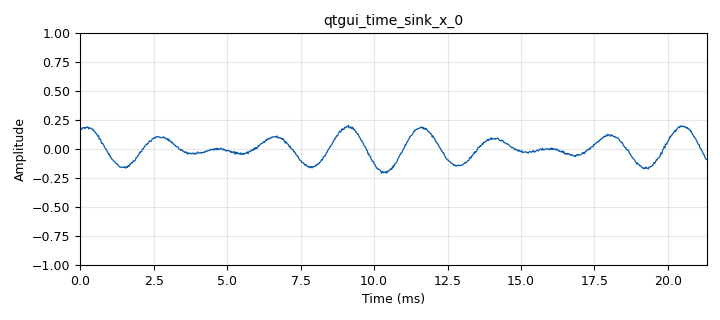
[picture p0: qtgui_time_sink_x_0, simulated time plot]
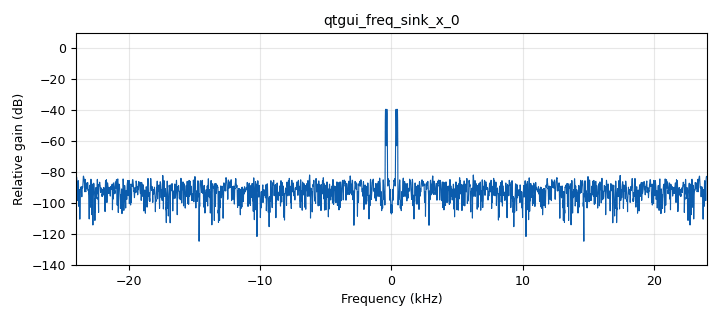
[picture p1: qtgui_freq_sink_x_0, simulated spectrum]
<?xml version='1.0' encoding='utf-8'?>
<?grc format='1' created='3.7.7'?>
<flow_graph>
<block>
<key>variable_qtgui_range</key>
<param><key>id</key><value>noise</value></param>
<param><key>label</key><value>Noise</value></param>
<param><key>value</key><value>0.005</value></param>
<param><key>start</key><value>0</value></param>
<param><key>stop</key><value>0.200</value></param>
<param><key>step</key><value>0.001</value></param>
<param><key>orient</key><value>Qt.Horizontal</value></param>
</block>
<block>
<key>variable</key>
<param><key>id</key><value>samp_rate</value></param>
<param><key>value</key><value>48000</value></param>
</block>
<block>
<key>options</key>
<param><key>id</key><value>audio_dial_tone</value></param>
<param><key>generate_options</key><value>qt_gui</value></param>
<param><key>category</key><value>Custom</value></param>
<param><key>run_options</key><value>run</value></param>
</block>
<block>
<key>variable_qtgui_range</key>
<param><key>id</key><value>ampl</value></param>
<param><key>label</key><value>Volume</value></param>
<param><key>value</key><value>0.1</value></param>
<param><key>start</key><value>0</value></param>
<param><key>stop</key><value>0.5</value></param>
<param><key>step</key><value>0.001</value></param>
<param><key>orient</key><value>Qt.Horizontal</value></param>
</block>
<block>
<key>analog_sig_source_x</key>
<param><key>id</key><value>analog_sig_source_x_1</value></param>
<param><key>type</key><value>float</value></param>
<param><key>samp_rate</key><value>samp_rate</value></param>
<param><key>waveform</key><value>analog.GR_COS_WAVE</value></param>
<param><key>freq</key><value>440</value></param>
<param><key>amp</key><value>ampl</value></param>
<param><key>offset</key><value>0</value></param>
</block>
<block>
<key>analog_noise_source_x</key>
<param><key>id</key><value>analog_noise_source_x_0</value></param>
<param><key>type</key><value>float</value></param>
<param><key>noise_type</key><value>analog.GR_GAUSSIAN</value></param>
<param><key>amp</key><value>noise</value></param>
<param><key>seed</key><value>-42</value></param>
</block>
<block>
<key>analog_sig_source_x</key>
<param><key>id</key><value>analog_sig_source_x_0</value></param>
<param><key>type</key><value>float</value></param>
<param><key>samp_rate</key><value>samp_rate</value></param>
<param><key>waveform</key><value>analog.GR_COS_WAVE</value></param>
<param><key>freq</key><value>350</value></param>
<param><key>amp</key><value>ampl</value></param>
<param><key>offset</key><value>0</value></param>
</block>
<block>
<key>blocks_add_xx</key>
<param><key>id</key><value>blocks_add_xx</value></param>
<param><key>type</key><value>float</value></param>
<param><key>num_inputs</key><value>3</value></param>
</block>
<block>
<key>qtgui_time_sink_x</key>
<param><key>id</key><value>qtgui_time_sink_x_0</value></param>
<param><key>type</key><value>float</value></param>
<param><key>name</key><value></value></param>
<param><key>size</key><value>1024</value></param>
<param><key>srate</key><value>samp_rate</value></param>
<param><key>label1</key><value></value></param>
<param><key>color1</key><value>"blue"</value></param>
</block>
<block>
<key>audio_sink</key>
<param><key>id</key><value>audio_sink</value></param>
<param><key>samp_rate</key><value>int(samp_rate)</value></param>
</block>
<block>
<key>qtgui_freq_sink_x</key>
<param><key>id</key><value>qtgui_freq_sink_x_0</value></param>
<param><key>type</key><value>float</value></param>
<param><key>name</key><value></value></param>
<param><key>fftsize</key><value>4096</value></param>
<param><key>wintype</key><value>firdes.WIN_FLATTOP</value></param>
<param><key>fc</key><value>0</value></param>
<param><key>bw</key><value>samp_rate</value></param>
<param><key>showports</key><value>True</value></param>
</block>
<connection><source_block_id>analog_noise_source_x_0</source_block_id><sink_block_id>blocks_add_xx</sink_block_id><source_key>0</source_key><sink_key>2</sink_key></connection>
<connection><source_block_id>analog_sig_source_x_1</source_block_id><sink_block_id>blocks_add_xx</sink_block_id><source_key>0</source_key><sink_key>1</sink_key></connection>
<connection><source_block_id>analog_sig_source_x_0</source_block_id><sink_block_id>blocks_add_xx</sink_block_id><source_key>0</source_key><sink_key>0</sink_key></connection>
<connection><source_block_id>blocks_add_xx</source_block_id><sink_block_id>audio_sink</sink_block_id><source_key>0</source_key><sink_key>0</sink_key></connection>
<connection><source_block_id>blocks_add_xx</source_block_id><sink_block_id>qtgui_time_sink_x_0</sink_block_id><source_key>0</source_key><sink_key>0</sink_key></connection>
<connection><source_block_id>blocks_add_xx</source_block_id><sink_block_id>qtgui_freq_sink_x_0</sink_block_id><source_key>0</source_key><sink_key>0</sink_key></connection>
</flow_graph>
